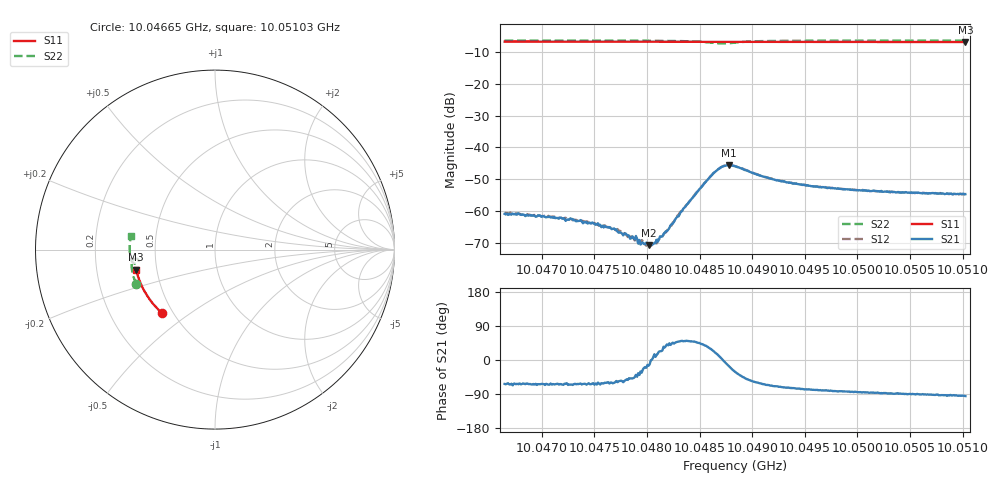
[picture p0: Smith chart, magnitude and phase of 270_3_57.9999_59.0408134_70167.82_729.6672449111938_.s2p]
#  HZ  S  RI  R  50.00
! Rohde & Schwarz Vector Network Analyzer
! Rohde-Schwarz,ZNB20-2Port,1311601062101988,3.16
! Created: UTC 3/21/2024, 1:02:21 AM
! freq[Hz]  re:S11  im:S11  re:S21  im:S21  re:S12  im:S12  re:S22  im:S22
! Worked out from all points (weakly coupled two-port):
!   401 points, 10.04665 GHz to 10.05103 GHz, reference 50 ohm
!   highest |S21| = -45.59 dB at 10.04878 GHz (marker M1); lowest = -70.7 dB at 10.04801 GHz (marker M2)
!   lowest |S11| = -6.9 dB at 10.05103 GHz (marker M3), VSWR 2.66, Z = 19.1 - j5.35 ohm
!   |S11| at or under -10 dB: nowhere
!   |S22| runs from -7.3 to -6.4 dB; largest |S21 - S12| = 0.00035
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1.0046646e10  -0.2938 -0.3551  0.000406 -0.000805  0.000493 -0.000803  -0.4385 -0.1943
1.0046985e10  -0.3104 -0.3398  0.000369 -0.000753  0.000413 -0.000733  -0.4467 -0.1729
1.0047292e10  -0.3246 -0.3253  0.000306 -0.000682  0.00033 -0.000635  -0.4532 -0.1528
1.004738e10  -0.3286 -0.3211  0.000293 -0.000616  0.000349 -0.00061  -0.4549 -0.1471
1.004762e10  -0.339 -0.3092  0.000285 -0.00048  0.000319 -0.000459  -0.4591 -0.1305
1.004773e10  -0.3437 -0.3037  0.000254 -0.000379  0.000283 -0.000399  -0.4607 -0.1228
1.0047861e10  -0.3491 -0.2968  0.000264 -0.000298  0.000287 -0.00026  -0.4624 -0.1129
1.0047883e10  -0.3502 -0.2957  0.000253 -0.000253  0.000268 -0.000215  -0.4627 -0.1113
1.0047938e10  -0.3523 -0.2929  0.000256 -0.000149  0.000295 -0.00016  -0.4631 -0.1072
1.0048015e10  -0.3554 -0.2888  0.000283 -7.69e-05  0.000288 -4.47e-05  -0.4638 -0.1013
1.0048058e10  -0.3573 -0.2865  0.0003 3.6e-05  0.000308 2.44e-05  -0.4642 -0.0975
1.0048113e10  -0.3595 -0.2837  0.000332 0.000137  0.000331 0.000136  -0.4644 -0.0933
1.004819e10  -0.3624 -0.2796  0.000364 0.000317  0.00037 0.000323  -0.4645 -0.0867
1.004831e10  -0.367 -0.2732  0.000587 0.000677  0.000593 0.00072  -0.4632 -0.0756
1.0048617e10  -0.378 -0.256  0.00327 0.00166  0.0032 0.00189  -0.4384 -0.0502
1.0048705e10  -0.3809 -0.2515  0.00487 0.000395  0.00484 0.000674  -0.4257 -0.0591
1.0048781e10  -0.3833 -0.2473  0.00501 -0.00157  0.0051 -0.00128  -0.4278 -0.0732
1.0048836e10  -0.3854 -0.2443  0.00433 -0.00261  0.00451 -0.00234  -0.436 -0.0788
1.0049208e10  -0.3976 -0.2231  0.00112 -0.00291  0.0013 -0.00286  -0.4689 -0.0528
1.004957e10  -0.4083 -0.2017  0.000483 -0.00241  0.000634 -0.00239  -0.4747 -0.0235
1.0050303e10  -0.4262 -0.157  4.74e-05 -0.00197  0.000183 -0.00202  -0.4751 0.0288
1.0051026e10  -0.4392 -0.1115  -0.000168 -0.00183  -7.16e-05 -0.00185  -0.4692 0.0773
